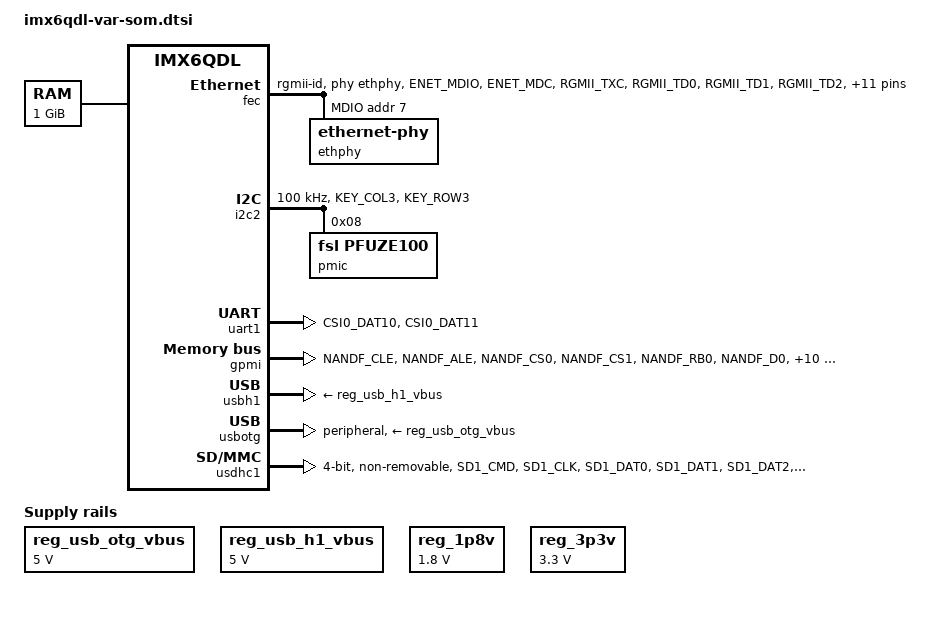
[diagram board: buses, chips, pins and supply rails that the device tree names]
/*
 * Copyright (C) 2015-2024 Variscite Ltd.
 *
 * This program is free software; you can redistribute it and/or modify
 * it under the terms of the GNU General Public License version 2 as
 * published by the Free Software Foundation.
 */

#include <dt-bindings/gpio/gpio.h>
#include <dt-bindings/input/input.h>
#include <dt-bindings/sound/fsl-imx-audmux.h>

/ {
	chosen {
		stdout-path = &uart1;
	};

	memory: memory {
		reg = <0x10000000 0x40000000>;
	};

	regulators {
		compatible = "simple-bus";
		#address-cells = <1>;
		#size-cells = <0>;

		reg_usb_otg_vbus: regulator-usb-otg-vbus {
			compatible = "regulator-fixed";
			regulator-name = "usb_otg_vbus";
			regulator-min-microvolt = <5000000>;
			regulator-max-microvolt = <5000000>;
		};

		reg_usb_h1_vbus: regulator@1 {
			compatible = "regulator-fixed";
			reg = <1>;
			regulator-name = "usb_h1_vbus";
			regulator-min-microvolt = <5000000>;
			regulator-max-microvolt = <5000000>;
		};

		reg_1p8v: regulator@2 {
			compatible = "regulator-fixed";
			regulator-name = "1P8V";
			regulator-min-microvolt = <1800000>;
			regulator-max-microvolt = <1800000>;
			regulator-always-on;
		};

		reg_3p3v: regulator@3 {
			compatible = "regulator-fixed";
			regulator-name = "3P3V";
			regulator-min-microvolt = <3300000>;
			regulator-max-microvolt = <3300000>;
			regulator-always-on;
		};
	};
};

&clks {
	assigned-clocks = <&clks IMX6QDL_CLK_LDB_DI0_SEL>,
			  <&clks IMX6QDL_CLK_LDB_DI1_SEL>;
	assigned-clock-parents = <&clks IMX6QDL_CLK_PLL2_PFD0_352M>,
				 <&clks IMX6QDL_CLK_PLL2_PFD0_352M>;
};

&fec {
	pinctrl-names = "default";
	pinctrl-0 = <&pinctrl_enet_4>;
	phy-mode = "rgmii-id";
	phy-handle = <&ethphy>;
	phy-reset-duration = <10>;
	phy-reset-gpios = <&gpio1 25 GPIO_ACTIVE_LOW>;
	status = "okay";

	mdio {
		#address-cells = <1>;
		#size-cells = <0>;

		ethphy: ethernet-phy@7 {
			reg = <7>;
			assigned-clocks = <&clks IMX6QDL_CLK_ENET_REF>;
			assigned-clock-rates = <125000000>;
		};
	};
};

&gpc {
	/* use ldo-bypass, u-boot will check it and configure */
	fsl,ldo-bypass = <1>;
};

&i2c2 {
	clock-frequency = <100000>;
	pinctrl-names = "default";
	pinctrl-0 = <&pinctrl_i2c2>;
	status = "okay";

	pmic: pfuze100@8 {
		compatible = "fsl,pfuze100";
		reg = <0x08>;
		pinctrl-names = "default";
		pinctrl-0 = <&pinctrl_pfuze100>;
	};
};

&iomuxc {
	pinctrl-names = "default";

	imx6qdl-var-som-mx6 {

		pinctrl_enet_4: enetgrp {
			fsl,pins = <
				MX6QDL_PAD_ENET_MDIO__ENET_MDIO		0x1b0b0
				MX6QDL_PAD_ENET_MDC__ENET_MDC		0x1b0b0
				MX6QDL_PAD_RGMII_TXC__RGMII_TXC		0x1b0b0
				MX6QDL_PAD_RGMII_TD0__RGMII_TD0		0x1b0b0
				MX6QDL_PAD_RGMII_TD1__RGMII_TD1		0x1b0b0
				MX6QDL_PAD_RGMII_TD2__RGMII_TD2		0x1b0b0
				MX6QDL_PAD_RGMII_TD3__RGMII_TD3		0x1b0b0
				MX6QDL_PAD_RGMII_TX_CTL__RGMII_TX_CTL	0x1b0b0
				MX6QDL_PAD_ENET_REF_CLK__ENET_TX_CLK	0x1b0b0
				MX6QDL_PAD_RGMII_RXC__RGMII_RXC		0x1b0b0
				MX6QDL_PAD_RGMII_RD0__RGMII_RD0		0x1b0b0
				MX6QDL_PAD_RGMII_RD1__RGMII_RD1		0x1b0b0
				MX6QDL_PAD_RGMII_RD2__RGMII_RD2		0x1b0b0
				MX6QDL_PAD_RGMII_RD3__RGMII_RD3		0x1b0b0
				MX6QDL_PAD_RGMII_RX_CTL__RGMII_RX_CTL	0x1b0b0
				MX6QDL_PAD_ENET_CRS_DV__GPIO1_IO25	0x1b0b0
			>;
		};

		pinctrl_pfuze100: pfuze100grp {
			fsl,pins = <
				/* PMIC INT */
				MX6QDL_PAD_GPIO_17__GPIO7_IO12		0x80000000
			>;
		};

		pinctrl_gpmi_nand_v1: gpmi-nand-1 {
			fsl,pins = <
				MX6QDL_PAD_NANDF_CLE__NAND_CLE		0xb0b1
				MX6QDL_PAD_NANDF_ALE__NAND_ALE		0xb0b1
				MX6QDL_PAD_NANDF_CS0__NAND_CE0_B	0xb0b1
				MX6QDL_PAD_NANDF_CS1__NAND_CE1_B	0xb0b1
				MX6QDL_PAD_NANDF_RB0__NAND_READY_B	0xb0b1
				MX6QDL_PAD_NANDF_D0__NAND_DATA00	0xb0b1
				MX6QDL_PAD_NANDF_D1__NAND_DATA01	0xb0b1
				MX6QDL_PAD_NANDF_D2__NAND_DATA02	0xb0b1
				MX6QDL_PAD_NANDF_D3__NAND_DATA03	0xb0b1
				MX6QDL_PAD_NANDF_D4__NAND_DATA04	0xb0b1
				MX6QDL_PAD_NANDF_D5__NAND_DATA05	0xb0b1
				MX6QDL_PAD_NANDF_D6__NAND_DATA06	0xb0b1
				MX6QDL_PAD_NANDF_D7__NAND_DATA07	0xb0b1
				MX6QDL_PAD_SD4_CMD__NAND_RE_B		0xb0b1
				MX6QDL_PAD_SD4_CLK__NAND_WE_B		0xb0b1
				MX6QDL_PAD_NANDF_WP_B__NAND_WP_B	0xb0b1
			>;
		};

		pinctrl_i2c2: i2c2grp {
			fsl,pins = <
				MX6QDL_PAD_KEY_COL3__I2C2_SCL		0x4001b8b1
				MX6QDL_PAD_KEY_ROW3__I2C2_SDA		0x4001b8b1
			>;
		};

		/* Linux Console */
		pinctrl_uart1: uart1grp { /* RX/TX only */
			fsl,pins = <
				MX6QDL_PAD_CSI0_DAT10__UART1_TX_DATA	0x1b0b1
				MX6QDL_PAD_CSI0_DAT11__UART1_RX_DATA	0x1b0b1
			>;
		};

		pinctrl_usdhc1: usdhc1grp {
			fsl,pins = <
				MX6QDL_PAD_SD1_CMD__SD1_CMD		0x17059
				MX6QDL_PAD_SD1_CLK__SD1_CLK		0x10059
				MX6QDL_PAD_SD1_DAT0__SD1_DATA0		0x17059
				MX6QDL_PAD_SD1_DAT1__SD1_DATA1		0x17059
				MX6QDL_PAD_SD1_DAT2__SD1_DATA2		0x17059
				MX6QDL_PAD_SD1_DAT3__SD1_DATA3		0x17059
			>;
		};

		pinctrl_usdhc2: usdhc2grp {
			fsl,pins = <
				MX6QDL_PAD_SD2_CMD__SD2_CMD		0x17059
				MX6QDL_PAD_SD2_CLK__SD2_CLK		0x10059
				MX6QDL_PAD_SD2_DAT0__SD2_DATA0		0x17059
				MX6QDL_PAD_SD2_DAT1__SD2_DATA1		0x17059
				MX6QDL_PAD_SD2_DAT2__SD2_DATA2		0x17059
				MX6QDL_PAD_SD2_DAT3__SD2_DATA3		0x17059
			>;
		};
	};
};

&snvs_poweroff {
	status = "okay";
};

/* Console Uart */
&uart1 {
	pinctrl-names = "default";
	pinctrl-0 = <&pinctrl_uart1>;
	status = "okay";
};

&gpmi {
	pinctrl-names = "default";
	pinctrl-0 = <&pinctrl_gpmi_nand_v1>;
	status = "okay";
};

&usbh1 {
	vbus-supply = <&reg_usb_h1_vbus>;
	status = "okay";
};

&usbotg {
	vbus-supply = <&reg_usb_otg_vbus>;
	disable-over-current;
	/* dr_mode: One of "host", "peripheral" or "otg". Defaults to "otg" */
	dr_mode = "peripheral";
	status = "okay";
};

&usdhc1 {	/* uSDHC1, eMMC */
	pinctrl-names = "default";
	pinctrl-0 = <&pinctrl_usdhc1>;
	bus-width = <4>;
	non-removable;
	status = "okay";
};
